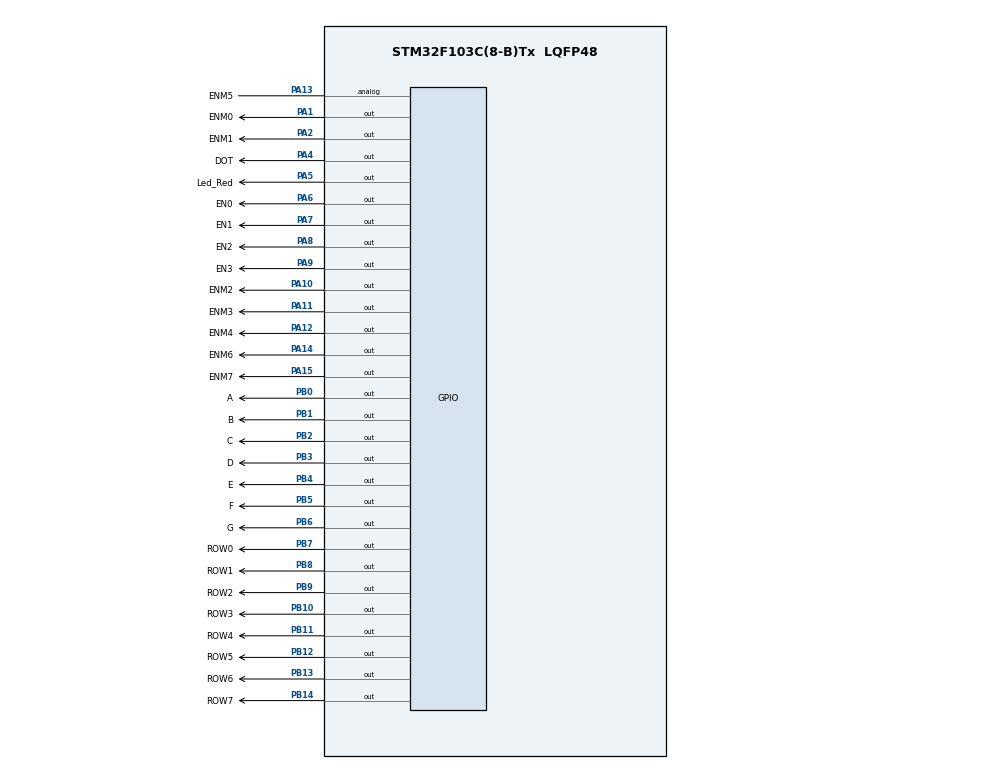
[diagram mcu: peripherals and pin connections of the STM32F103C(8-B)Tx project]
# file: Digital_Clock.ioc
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Mcu.Family=STM32F1
Mcu.Name=STM32F103C(8-B)Tx
Mcu.Package=LQFP48
NVIC.PriorityGroup=NVIC_PRIORITYGROUP_4
NVIC.TIM2_IRQn=true\:0\:0\:false\:false\:true\:true\:true\:true
PA1.GPIO_Label=ENM0
PA1.Signal=GPIO_Output
PA10.GPIO_Label=ENM2
PA10.Signal=GPIO_Output
PA11.GPIO_Label=ENM3
PA11.Signal=GPIO_Output
PA12.GPIO_Label=ENM4
PA12.Signal=GPIO_Output
PA13.GPIO_Label=ENM5
PA13.Signal=GPIO_Analog
PA14.GPIO_Label=ENM6
PA14.Signal=GPIO_Output
PA15.GPIO_Label=ENM7
PA15.Signal=GPIO_Output
PA2.GPIO_Label=ENM1
PA2.Signal=GPIO_Output
PA4.GPIO_Label=DOT
PA4.Signal=GPIO_Output
PA5.GPIO_Label=Led_Red
PA5.Signal=GPIO_Output
PA6.GPIO_Label=EN0
PA6.Signal=GPIO_Output
PA7.GPIO_Label=EN1
PA7.Signal=GPIO_Output
PA8.GPIO_Label=EN2
PA8.Signal=GPIO_Output
PA9.GPIO_Label=EN3
PA9.Signal=GPIO_Output
PB0.GPIO_Label=A
PB0.Signal=GPIO_Output
PB1.GPIO_Label=B
PB1.Signal=GPIO_Output
PB10.GPIO_Label=ROW3
PB10.Signal=GPIO_Output
PB11.GPIO_Label=ROW4
PB11.Signal=GPIO_Output
PB12.GPIO_Label=ROW5
PB12.Signal=GPIO_Output
PB13.GPIO_Label=ROW6
PB13.Signal=GPIO_Output
PB14.GPIO_Label=ROW7
PB14.Signal=GPIO_Output
PB2.GPIO_Label=C
PB2.Signal=GPIO_Output
PB3.GPIO_Label=D
PB3.Signal=GPIO_Output
PB4.GPIO_Label=E
PB4.Signal=GPIO_Output
PB5.GPIO_Label=F
PB5.Signal=GPIO_Output
PB6.GPIO_Label=G
PB6.Signal=GPIO_Output
PB7.GPIO_Label=ROW0
PB7.Signal=GPIO_Output
PB8.GPIO_Label=ROW1
PB8.Signal=GPIO_Output
PB9.GPIO_Label=ROW2
PB9.Signal=GPIO_Output
ProjectManager.HeapSize=0x200
ProjectManager.StackSize=0x400
ProjectManager.TargetToolchain=STM32CubeIDE
RCC.APB1Freq_Value=8000000
RCC.APB2Freq_Value=8000000
TIM2.Period=9
TIM2.Prescaler=7999
VP_SYS_VS_ND.Mode=No_Debug
VP_TIM2_VS_ClockSourceINT.Mode=Internal
board=custom

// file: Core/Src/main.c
/* USER CODE BEGIN Header */
/**
  ******************************************************************************
  * @file           : main.c
  * @brief          : Main program body
  ******************************************************************************
  * @attention
  *
  * Copyright (c) 2025 STMicroelectronics.
  * All rights reserved.
  *
  * This software is licensed under terms that can be found in the LICENSE file
  * in the root directory of this software component.
  * If no LICENSE file comes with this software, it is provided AS-IS.
  *
  ******************************************************************************
  */
/* USER CODE END Header */
#include "main.h"

/* USER CODE BEGIN Includes */
#include "software_timer.h"
#include "control_clock.h"
#include "matrix_led.h"

/* USER CODE END Includes */

/* USER CODE BEGIN PD */
#define DOT		0
#define SegLed	1
#define MATRIX	2
#define SHIFT 	3

/* USER CODE END PD */

TIM_HandleTypeDef htim2;

void SystemClock_Config(void);
static void MX_GPIO_Init(void);
static void MX_TIM2_Init(void);

int main(void)
{

  /* MCU Configuration--------------------------------------------------------*/

  /* Reset of all peripherals, Initializes the Flash interface and the Systick. */
  HAL_Init();

  /* Configure the system clock */
  SystemClock_Config();

  /* Initialize all configured peripherals */
  MX_GPIO_Init();
  MX_TIM2_Init();
  /* USER CODE BEGIN 2 */
  HAL_TIM_Base_Start_IT(&htim2);
  setTimer(DOT, 1000);
  setTimer(SegLed, 250);
  setTimer(MATRIX, 10);
  setTimer(SHIFT, 60);

  init_control_clock();
  /* USER CODE END 2 */

  /* Infinite loop */
  while (1)
  {

    /* USER CODE BEGIN 3 */
	  if (flag_counter[SegLed] == 1) {
		  if (index_led >= 4) {
			  index_led = 0;
		  }
		  else {
			  update7SEG(index_led++);
			  setTimer(SegLed, 250);
		  }
	  }
	  if (flag_counter[DOT] == 1) {
		  control_DOT();
		  digital_clock();
		  setTimer(DOT, 1000);
	  }
	  if (flag_counter[MATRIX] == 1) {
		  if (index_led_matrix >= 8) {
			  index_led_matrix = 0;
		  }
		  else {
			  updateLEDMatrix(index_led_matrix++);
			  setTimer(MATRIX, 10);
		  }
	  }
	  if (flag_counter[SHIFT] == 1) {
		  shiftMatrixLED();
		  setTimer(SHIFT, 60);
	  }
  }
  /* USER CODE END 3 */
}

void SystemClock_Config(void)
{
  RCC_OscInitTypeDef RCC_OscInitStruct = {0};
  RCC_ClkInitTypeDef RCC_ClkInitStruct = {0};

  /** Initializes the RCC Oscillators according to the specified parameters
  * in the RCC_OscInitTypeDef structure.
  */
  RCC_OscInitStruct.OscillatorType = RCC_OSCILLATORTYPE_HSI;
  RCC_OscInitStruct.HSIState = RCC_HSI_ON;
  RCC_OscInitStruct.HSICalibrationValue = RCC_HSICALIBRATION_DEFAULT;
  RCC_OscInitStruct.PLL.PLLState = RCC_PLL_NONE;
  if (HAL_RCC_OscConfig(&RCC_OscInitStruct) != HAL_OK)
  {
    Error_Handler();
  }

  /** Initializes the CPU, AHB and APB buses clocks
  */
  RCC_ClkInitStruct.ClockType = RCC_CLOCKTYPE_HCLK|RCC_CLOCKTYPE_SYSCLK
                              |RCC_CLOCKTYPE_PCLK1|RCC_CLOCKTYPE_PCLK2;
  RCC_ClkInitStruct.SYSCLKSource = RCC_SYSCLKSOURCE_HSI;
  RCC_ClkInitStruct.AHBCLKDivider = RCC_SYSCLK_DIV1;
  RCC_ClkInitStruct.APB1CLKDivider = RCC_HCLK_DIV1;
  RCC_ClkInitStruct.APB2CLKDivider = RCC_HCLK_DIV1;

  if (HAL_RCC_ClockConfig(&RCC_ClkInitStruct, FLASH_LATENCY_0) != HAL_OK)
  {
    Error_Handler();
  }
}

static void MX_TIM2_Init(void)
{

  TIM_ClockConfigTypeDef sClockSourceConfig = {0};
  TIM_MasterConfigTypeDef sMasterConfig = {0};

  htim2.Instance = TIM2;
  htim2.Init.Prescaler = 7999;
  htim2.Init.CounterMode = TIM_COUNTERMODE_UP;
  htim2.Init.Period = 9;
  htim2.Init.ClockDivision = TIM_CLOCKDIVISION_DIV1;
  htim2.Init.AutoReloadPreload = TIM_AUTORELOAD_PRELOAD_DISABLE;
  if (HAL_TIM_Base_Init(&htim2) != HAL_OK)
  {
    Error_Handler();
  }
  sClockSourceConfig.ClockSource = TIM_CLOCKSOURCE_INTERNAL;
  if (HAL_TIM_ConfigClockSource(&htim2, &sClockSourceConfig) != HAL_OK)
  {
    Error_Handler();
  }
  sMasterConfig.MasterOutputTrigger = TIM_TRGO_RESET;
  sMasterConfig.MasterSlaveMode = TIM_MASTERSLAVEMODE_DISABLE;
  if (HAL_TIMEx_MasterConfigSynchronization(&htim2, &sMasterConfig) != HAL_OK)
  {
    Error_Handler();
  }

}

static void MX_GPIO_Init(void)
{
  GPIO_InitTypeDef GPIO_InitStruct = {0};

  /* GPIO Ports Clock Enable */
  __HAL_RCC_GPIOA_CLK_ENABLE();
  __HAL_RCC_GPIOB_CLK_ENABLE();

  /*Configure GPIO pin Output Level */
  HAL_GPIO_WritePin(GPIOA, ENM0_Pin|ENM1_Pin|DOT_Pin|Led_Red_Pin
                          |EN0_Pin|EN1_Pin|EN2_Pin|EN3_Pin
                          |ENM2_Pin|ENM3_Pin|ENM4_Pin|ENM6_Pin
                          |ENM7_Pin, GPIO_PIN_RESET);

  /*Configure GPIO pin Output Level */
  HAL_GPIO_WritePin(GPIOB, A_Pin|B_Pin|C_Pin|ROW3_Pin
                          |ROW4_Pin|ROW5_Pin|ROW6_Pin|ROW7_Pin
                          |D_Pin|E_Pin|F_Pin|G_Pin
                          |ROW0_Pin|ROW1_Pin|ROW2_Pin, GPIO_PIN_RESET);

  /*Configure GPIO pins : ENM0_Pin ENM1_Pin DOT_Pin Led_Red_Pin
                           EN0_Pin EN1_Pin EN2_Pin EN3_Pin
                           ENM2_Pin ENM3_Pin ENM4_Pin ENM6_Pin
                           ENM7_Pin */
  GPIO_InitStruct.Pin = ENM0_Pin|ENM1_Pin|DOT_Pin|Led_Red_Pin
                          |EN0_Pin|EN1_Pin|EN2_Pin|EN3_Pin
                          |ENM2_Pin|ENM3_Pin|ENM4_Pin|ENM6_Pin
                          |ENM7_Pin;
  GPIO_InitStruct.Mode = GPIO_MODE_OUTPUT_PP;
  GPIO_InitStruct.Pull = GPIO_NOPULL;
  GPIO_InitStruct.Speed = GPIO_SPEED_FREQ_LOW;
  HAL_GPIO_Init(GPIOA, &GPIO_InitStruct);

  /*Configure GPIO pins : A_Pin B_Pin C_Pin ROW3_Pin
                           ROW4_Pin ROW5_Pin ROW6_Pin ROW7_Pin
                           D_Pin E_Pin F_Pin G_Pin
                           ROW0_Pin ROW1_Pin ROW2_Pin */
  GPIO_InitStruct.Pin = A_Pin|B_Pin|C_Pin|ROW3_Pin
                          |ROW4_Pin|ROW5_Pin|ROW6_Pin|ROW7_Pin
                          |D_Pin|E_Pin|F_Pin|G_Pin
                          |ROW0_Pin|ROW1_Pin|ROW2_Pin;
  GPIO_InitStruct.Mode = GPIO_MODE_OUTPUT_PP;
  GPIO_InitStruct.Pull = GPIO_NOPULL;
  GPIO_InitStruct.Speed = GPIO_SPEED_FREQ_LOW;
  HAL_GPIO_Init(GPIOB, &GPIO_InitStruct);

  /*Configure GPIO pin : ENM5_Pin */
  GPIO_InitStruct.Pin = ENM5_Pin;
  GPIO_InitStruct.Mode = GPIO_MODE_ANALOG;
  HAL_GPIO_Init(ENM5_GPIO_Port, &GPIO_InitStruct);

}

/* USER CODE BEGIN 4 */
void HAL_TIM_PeriodElapsedCallback (TIM_HandleTypeDef *htim) {
	runTimer(DOT);
	runTimer(SegLed);
	runTimer(MATRIX);
	runTimer(SHIFT);
}

/* USER CODE END 4 */

void Error_Handler(void)
{
  __disable_irq();
  while (1)
  {
  }
}
